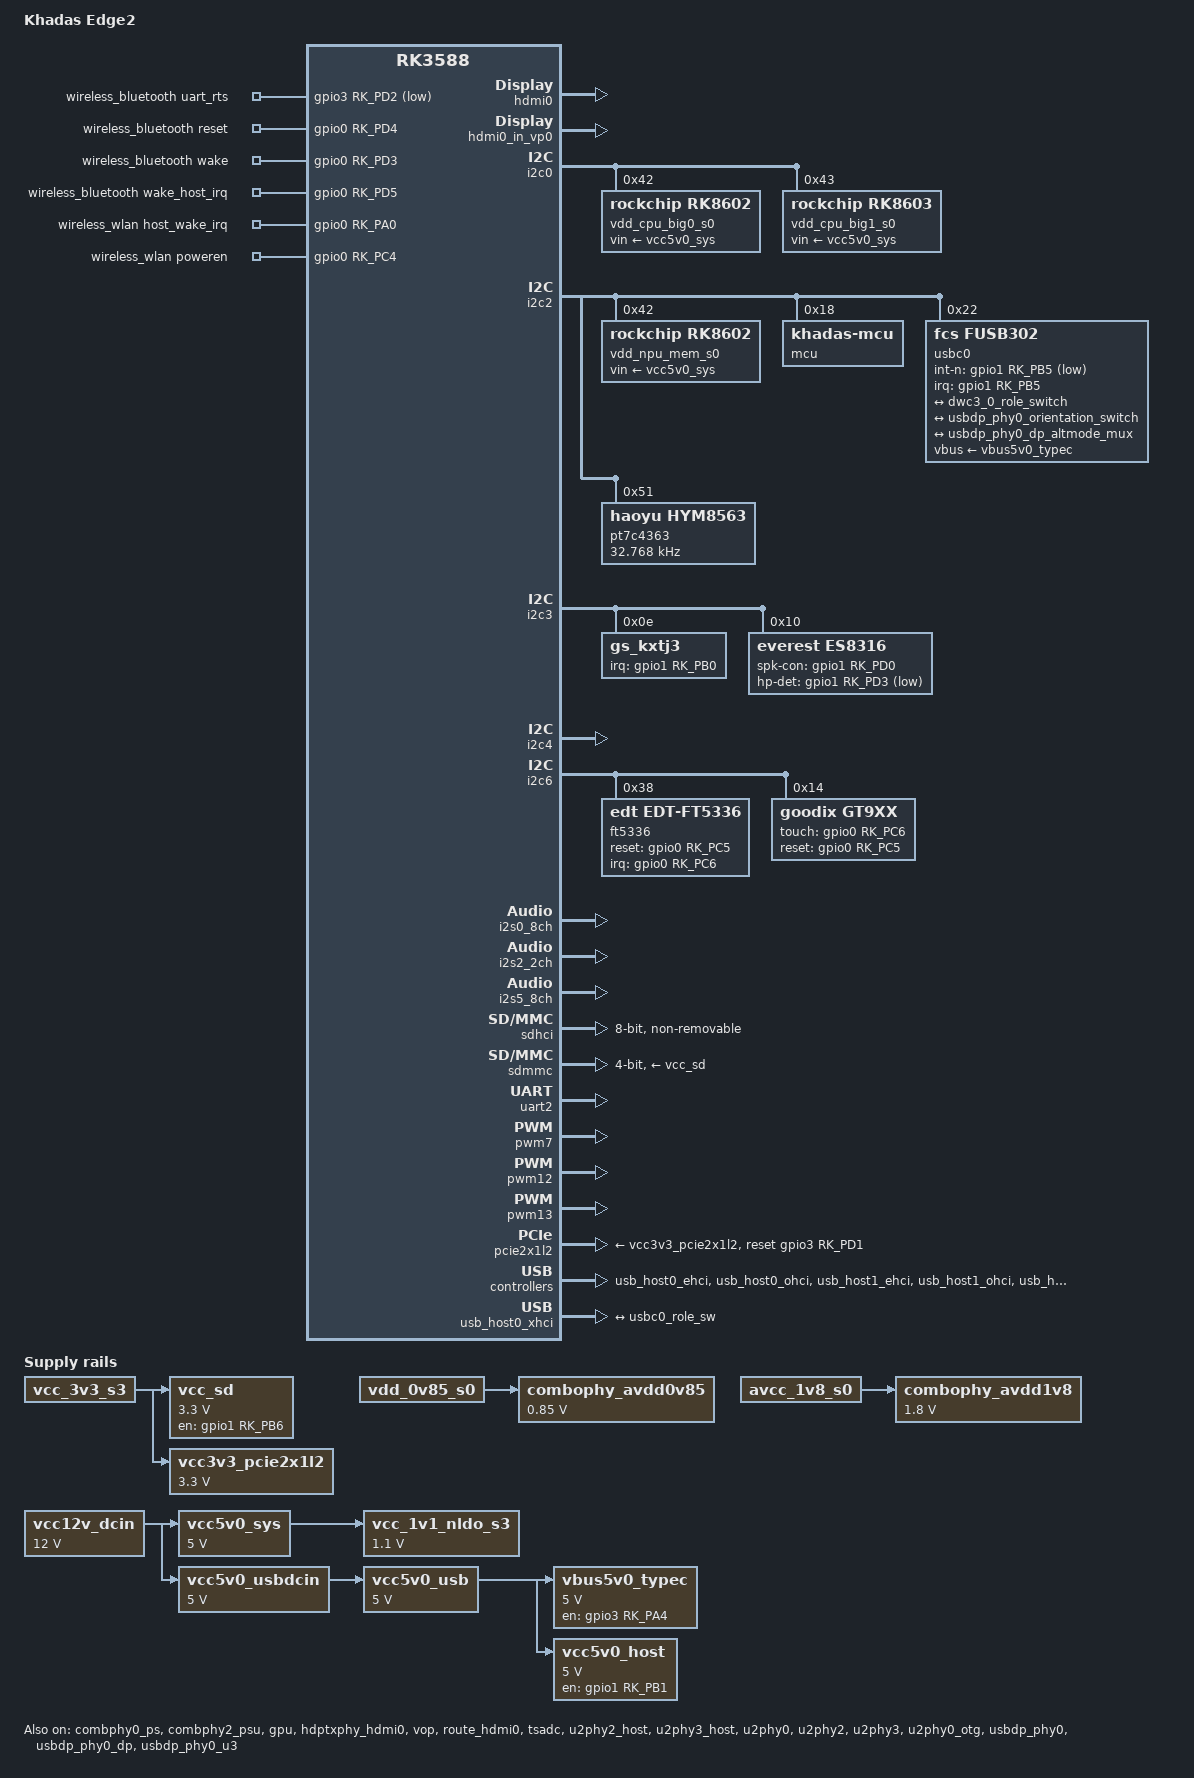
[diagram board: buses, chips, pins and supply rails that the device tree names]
// SPDX-License-Identifier: (GPL-2.0+ OR MIT)

/dts-v1/;

#include <dt-bindings/pwm/pwm.h>
#include <dt-bindings/usb/pd.h>
#include <dt-bindings/gpio/gpio.h>
#include <dt-bindings/pinctrl/rockchip.h>
#include "rk3588s.dtsi"
#include "rk3588-rk806-single.dtsi"

/ {
	model = "Khadas Edge2";
	compatible = "khadas,edge2", "rockchip,rk3588s", "rockchip,rk3588";

	aliases {
		serial2 = &uart2;
	};

	chosen {
		stdout-path = "serial2:1500000n8";
	};

	reserved-memory {
		#address-cells = <2>;
		#size-cells = <2>;
		ranges;

		cma {
			compatible = "shared-dma-pool";
			reusable;
			size = <0x0 (16 * 0x100000)>;
			alloc-ranges = <0x0 0x0 0x1 0x0>;
			linux,cma-default;
		};

		ramoops: ramoops@110000 {
			compatible = "ramoops";
			reg = <0x0 0x110000 0x0 0xf0000>;
			record-size = <0x20000>;
			console-size = <0x80000>;
			ftrace-size = <0x00000>;
			pmsg-size = <0x50000>;
		};
	};

	vcc12v_dcin: vcc12v-dcin-regulator {
		compatible = "regulator-fixed";
		regulator-name = "vcc12v_dcin";
		regulator-always-on;
		regulator-boot-on;
		regulator-min-microvolt = <12000000>;
		regulator-max-microvolt = <12000000>;
	};

	vcc5v0_sys: vcc5v0-sys-regulator {
		compatible = "regulator-fixed";
		regulator-name = "vcc5v0_sys";
		regulator-always-on;
		regulator-boot-on;
		regulator-min-microvolt = <5000000>;
		regulator-max-microvolt = <5000000>;
		vin-supply = <&vcc12v_dcin>;
	};

	vcc5v0_usbdcin: vcc5v0-usbdcin {
		compatible = "regulator-fixed";
		regulator-name = "vcc5v0_usbdcin";
		regulator-always-on;
		regulator-boot-on;
		regulator-min-microvolt = <5000000>;
		regulator-max-microvolt = <5000000>;
		vin-supply = <&vcc12v_dcin>;
	};

	vcc5v0_usb: vcc5v0-usb {
		compatible = "regulator-fixed";
		regulator-name = "vcc5v0_usb";
		regulator-always-on;
		regulator-boot-on;
		regulator-min-microvolt = <5000000>;
		regulator-max-microvolt = <5000000>;
		vin-supply = <&vcc5v0_usbdcin>;
	};

	vcc_1v1_nldo_s3: vcc-1v1-nldo-s3 {
		compatible = "regulator-fixed";
		regulator-name = "vcc_1v1_nldo_s3";
		regulator-always-on;
		regulator-boot-on;
		regulator-min-microvolt = <1100000>;
		regulator-max-microvolt = <1100000>;
		vin-supply = <&vcc5v0_sys>;
	};

	vbus5v0_typec: vbus5v0-typec {
		compatible = "regulator-fixed";
		regulator-name = "vbus5v0_typec";
		regulator-min-microvolt = <5000000>;
		regulator-max-microvolt = <5000000>;
		enable-active-high;
		gpio = <&gpio3 RK_PA4 GPIO_ACTIVE_HIGH>;
		vin-supply = <&vcc5v0_usb>;
		pinctrl-names = "default";
		pinctrl-0 = <&typec5v_pwren>;
	};

	vcc5v0_host: vcc5v0-host {
		compatible = "regulator-fixed";
		regulator-name = "vcc5v0_host";
		regulator-boot-on;
		regulator-always-on;
		regulator-min-microvolt = <5000000>;
		regulator-max-microvolt = <5000000>;
		enable-active-high;
		gpio = <&gpio1 RK_PB1 GPIO_ACTIVE_HIGH>;
		vin-supply = <&vcc5v0_usb>;
		pinctrl-names = "default";
		pinctrl-0 = <&vcc5v0_host_en>;
	};

	vcc_sd: vcc-sd {
		compatible = "regulator-fixed";
		regulator-boot-on;
		regulator-always-on;
		regulator-name = "vcc_sd";
		regulator-min-microvolt = <3300000>;
		regulator-max-microvolt = <3300000>;
		regulator-ramp-delay = <12500>;
		enable-active-high;
		gpio = <&gpio1 RK_PB6 GPIO_ACTIVE_HIGH>;
		vin-supply = <&vcc_3v3_s3>;
		pinctrl-names = "default";
		pinctrl-0 = <&vcc_sd_en>;
		regulator-state-mem {
		    regulator-off-in-suspend;
		};
	};

	wireless_bluetooth: wireless-bluetooth {
		compatible = "bluetooth-platdata";
		clocks = <&pt7c4363>;
		clock-names = "ext_clock";
		uart_rts_gpios = <&gpio3 RK_PD2 GPIO_ACTIVE_LOW>;
		pinctrl-names = "default", "rts_gpio";
		pinctrl-0 = <&uart9m2_rtsn>, <&bt_gpio>;
		pinctrl-1 = <&uart9_gpios>;
		BT,reset_gpio    = <&gpio0 RK_PD4 GPIO_ACTIVE_HIGH>;
		BT,wake_gpio     = <&gpio0 RK_PD3 GPIO_ACTIVE_HIGH>;
		BT,wake_host_irq = <&gpio0 RK_PD5 GPIO_ACTIVE_HIGH>;
		status = "okay";
	};

	wireless_wlan: wireless-wlan {
		compatible = "wlan-platdata";
		wifi_chip_type = "ap6275p";
		pinctrl-names = "default";
		pinctrl-0 = <&wifi_host_wake_irq>, <&wifi_poweren_gpio>;
		WIFI,host_wake_irq = <&gpio0 RK_PA0 GPIO_ACTIVE_HIGH>;
		WIFI,poweren_gpio = <&gpio0 RK_PC4 GPIO_ACTIVE_HIGH>;
		status = "okay";
	};

	vcc3v3_pcie2x1l2: vcc3v3-pcie2x1l2 {
		compatible = "regulator-fixed";
		regulator-name = "vcc3v3_pcie2x1l2";
		regulator-min-microvolt = <3300000>;
		regulator-max-microvolt = <3300000>;
		startup-delay-us = <5000>;
		vin-supply = <&vcc_3v3_s3>;
	};

	combophy_avdd0v85: combophy-avdd0v85 {
		compatible = "regulator-fixed";
		regulator-name = "combophy_avdd0v85";
		regulator-boot-on;
		regulator-always-on;
		regulator-min-microvolt = <850000>;
		regulator-max-microvolt = <850000>;
		vin-supply = <&vdd_0v85_s0>;
	};

	combophy_avdd1v8: combophy-avdd1v8 {
		compatible = "regulator-fixed";
		regulator-name = "combophy_avdd1v8";
		regulator-boot-on;
		regulator-always-on;
		regulator-min-microvolt = <1800000>;
		regulator-max-microvolt = <1800000>;
		vin-supply = <&avcc_1v8_s0>;
	};

	hdmi0_sound: hdmi0-sound {
		status = "okay";
		compatible = "rockchip,hdmi";
		rockchip,mclk-fs = <128>;
		rockchip,card-name = "rockchip-hdmi0";
		rockchip,cpu = <&i2s5_8ch>;
		rockchip,codec = <&hdmi0>;
		rockchip,jack-det;
	};

	es8316_sound: es8316-sound {
		status = "okay";
		compatible = "simple-audio-card";
		simple-audio-card,format = "i2s";
		simple-audio-card,mclk-fs = <256>;
		simple-audio-card,name = "rockchip,es8316-codec";
		simple-audio-card,dai-link@0 {
			format = "i2s";
			cpu {
				sound-dai = <&i2s0_8ch>;
			};
			codec {
				sound-dai = <&es8316>;
			};
		};
	};

	bt-sound {
		compatible = "simple-audio-card";
		simple-audio-card,format = "dsp_a";
		simple-audio-card,bitclock-inversion = <1>;
		simple-audio-card,mclk-fs = <256>;
		simple-audio-card,name = "rockchip,bt";
		simple-audio-card,cpu {
				sound-dai = <&i2s2_2ch>;
		};
		simple-audio-card,codec {
				sound-dai = <&bt_sco>;
		};
	};

	bt_sco: bt-sco {
		compatible = "delta,dfbmcs320";
		#sound-dai-cells = <0>;
		status = "okay";
	};

};

&cpu_b0 {
	cpu-supply = <&vdd_cpu_big0_s0>;
};

&cpu_b1 {
	cpu-supply = <&vdd_cpu_big0_s0>;
};

&cpu_b2 {
	cpu-supply = <&vdd_cpu_big1_s0>;
};

&cpu_b3 {
	cpu-supply = <&vdd_cpu_big1_s0>;
};

&combphy0_ps {
	status = "okay";
};

&combphy2_psu {
	status = "okay";
};

&gpu {
	mali-supply = <&vdd_gpu_s0>;
//	sram-supply = <&vdd_gpu_mem_s0>;
	status = "okay";
};

&hdmi0 {
	status = "okay";
};

&hdmi0_in_vp0 {
	status = "okay";
};

&hdptxphy_hdmi0 {
	status = "okay";
};

&vop_mmu {
       status = "okay";
};

&vop {
       status = "okay";
};

&route_hdmi0 {
	status = "okay";
	connect = <&vp0_out_hdmi0>;
	/delete-property/ force-output;
	/delete-node/ force_timing;
};

&vp0 {
	rockchip,plane-mask = <(1 << ROCKCHIP_VOP2_CLUSTER0 | 1 << ROCKCHIP_VOP2_ESMART0)>;
	rockchip,primary-plane = <ROCKCHIP_VOP2_ESMART0>;
};

&vp1 {
	rockchip,plane-mask = <(1 << ROCKCHIP_VOP2_CLUSTER1 | 1 << ROCKCHIP_VOP2_ESMART1)>;
	rockchip,primary-plane = <ROCKCHIP_VOP2_ESMART1>;
};

&vp2 {
	rockchip,plane-mask = <(1 << ROCKCHIP_VOP2_CLUSTER2 | 1 << ROCKCHIP_VOP2_ESMART2)>;
	rockchip,primary-plane = <ROCKCHIP_VOP2_ESMART2>;
};

&vp3 {
	rockchip,plane-mask = <(1 << ROCKCHIP_VOP2_CLUSTER3 | 1 << ROCKCHIP_VOP2_ESMART3)>;
	rockchip,primary-plane = <ROCKCHIP_VOP2_ESMART3>;
};




&i2c0 {
	pinctrl-names = "default";
	pinctrl-0 = <&i2c0m2_xfer>;
	status = "okay";

	vdd_cpu_big0_s0: regulator@42 {
		compatible = "rockchip,rk8602";
		reg = <0x42>;
		fcs,suspend-voltage-selector = <1>;
		regulator-name = "vdd_cpu_big0_s0";
		regulator-always-on;
		regulator-boot-on;
		regulator-min-microvolt = <550000>;
		regulator-max-microvolt = <1050000>;
		regulator-ramp-delay = <2300>;
		vin-supply = <&vcc5v0_sys>;

		regulator-state-mem {
			regulator-off-in-suspend;
		};
	};

	vdd_cpu_big1_s0: regulator@43 {
		compatible = "rockchip,rk8603", "rockchip,rk8602";
		reg = <0x43>;
		fcs,suspend-voltage-selector = <1>;
		regulator-name = "vdd_cpu_big1_s0";
		regulator-always-on;
		regulator-boot-on;
		regulator-min-microvolt = <550000>;
		regulator-max-microvolt = <1050000>;
		regulator-ramp-delay = <2300>;
		vin-supply = <&vcc5v0_sys>;

		regulator-state-mem {
			regulator-off-in-suspend;
		};
	};
};

&i2c2 {
	pinctrl-names = "default";
	pinctrl-0 = <&i2c2m0_xfer>;
	status = "okay";

	vdd_npu_mem_s0: rk8602@42 {
		compatible = "rockchip,rk8602";
		reg = <0x42>;
		vin-supply = <&vcc5v0_sys>;
		regulator-compatible = "rk860x-reg";
		regulator-name = "vdd_npu_s0";
		regulator-min-microvolt = <550000>;
		regulator-max-microvolt = <950000>;
		regulator-ramp-delay = <2300>;
		rockchip,suspend-voltage-selector = <1>;
		regulator-boot-on;
		regulator-always-on;
		regulator-state-mem {
			regulator-off-in-suspend;
		};
	};

	mcu: mcu@18 {
		compatible = "khadas-mcu";
		status = "okay";
		reg = <0x18>;
		fan,trig_temp_level0 = <50>;
		fan,trig_temp_level1 = <60>;
		fan,trig_temp_level2 = <70>;
		fan,trig_temp_level3 = <80>;
		hwver = "EDGE2.V11";

	};

	usbc0: fusb302@22 {
		compatible = "fcs,fusb302";
		reg = <0x22>;
		interrupt-parent = <&gpio1>;
		interrupts = <RK_PB5 IRQ_TYPE_LEVEL_LOW>;
		int-n-gpios = <&gpio1 RK_PB5 GPIO_ACTIVE_LOW>;
		pinctrl-names = "default";
		pinctrl-0 = <&usbc0_int>;
		vbus-supply = <&vbus5v0_typec>;
		status = "okay";

		ports {
			#address-cells = <1>;
			#size-cells = <0>;

			port@0 {
				reg = <0>;
				usbc0_role_sw: endpoint@0 {
					remote-endpoint = <&dwc3_0_role_switch>;
				};
			};
		};

		usb_con: connector {
			compatible = "usb-c-connector";
			label = "USB-C";
			data-role = "dual";
			power-role = "dual";
			try-power-role = "sink";
			op-sink-microwatt = <1000000>;
//			sink-pdos =
//				<PDO_FIXED(5000, 3000, PDO_FIXED_USB_COMM)
//				PDO_FIXED(9000, 3000, PDO_FIXED_USB_COMM)
//				PDO_FIXED(12000, 3000, PDO_FIXED_USB_COMM)
//				PDO_FIXED(15000, 3000, PDO_FIXED_USB_COMM)>;
//			source-pdos =
//				<PDO_FIXED(5000, 2000, PDO_FIXED_USB_COMM)>;

			altmodes {
				#address-cells = <1>;
				#size-cells = <0>;

				altmode@0 {
					reg = <0>;
					svid = <0xff01>;
					vdo = <0xffffffff>;
				};
			};

			ports {
				#address-cells = <1>;
				#size-cells = <0>;

				port@0 {
					reg = <0>;
					usbc0_orien_sw: endpoint {
						remote-endpoint = <&usbdp_phy0_orientation_switch>;
					};
				};

				port@1 {
					reg = <1>;
					dp_altmode_mux: endpoint {
						remote-endpoint = <&usbdp_phy0_dp_altmode_mux>;
					};
				};
			};
		};
	};

	pt7c4363: pt7c4363@51 {
		compatible = "haoyu,hym8563";
		reg = <0x51>;
		#clock-cells = <0>;
		clock-frequency = <32768>;
		clock-output-names = "pt7c4363";
		wakeup-source;
	};
};

&i2c3 {
	status = "okay";

	gs_kxtj3: gs_kxtj3@e {
		compatible = "gs_kxtj3";
		reg = <0x0e>;
		irq-gpio = <&gpio1 RK_PB0 IRQ_TYPE_EDGE_RISING>;
		irq_enable = <0>;
		poll_delay_ms = <30>;
//		type = <SENSOR_TYPE_ACCEL>;
		layout = <0>;
		status = "okay";
	};

	es8316: es8316@10 {
		status = "okay";
		#sound-dai-cells = <0>;
		compatible = "everest,es8316";
		reg = <0x10>;
		clocks = <&cru I2S0_8CH_MCLKOUT>;
		clock-names = "mclk";
		assigned-clocks = <&cru I2S0_8CH_MCLKOUT>;
		assigned-clock-rates = <12288000>;
		pinctrl-names = "default","hp_det","spk_con";
		pinctrl-0 = <&i2s0_mclk>,<&hp_det>,<&spk_con>;
		spk-con-gpio = <&gpio1 RK_PD0 GPIO_ACTIVE_HIGH>;
		hp-det-gpio = <&gpio1 RK_PD3 GPIO_ACTIVE_LOW>;
	};
};

&i2c4 {
	pinctrl-names = "default";
	pinctrl-0 = <&i2c4m3_xfer>;
	status = "okay";
};

&i2c5 {
	status = "disabled";
};

&i2c6 {
	status = "okay";
	pinctrl-names = "default";
	pinctrl-0 = <&i2c6m0_xfer>;

	ft5336@38 {
		compatible = "edt,edt-ft5336", "ft5x06";
		reg = <0x38>;
		interrupt-parent = <&gpio0>;
		interrupts = <RK_PC6 IRQ_TYPE_EDGE_FALLING>;
		reset-gpio = <&gpio0 RK_PC5 GPIO_ACTIVE_HIGH>;
		pinctrl-names = "default";
		pinctrl-0 = <&tp_rst_gpio>;
		status = "okay";
	};

	gt9xx: gt9xx@14 {
		compatible = "goodix,gt9xx";
		reg = <0x14>;
		touch-gpio = <&gpio0 RK_PC6 IRQ_TYPE_LEVEL_LOW>;
		reset-gpio = <&gpio0 RK_PC5 GPIO_ACTIVE_HIGH>;
		max-x = <1920>;
		max-y = <1200>;
		tp-size = <89>;
	};
};

&i2s0_8ch {
	status = "okay";
	pinctrl-0 = <&i2s0_lrck
		     &i2s0_sclk
		     &i2s0_sdi0
		     &i2s0_sdo0>;
};

&i2s2_2ch {
	status = "okay";
};

&i2s5_8ch {
	status = "okay";
};


&sdhci {
	bus-width = <8>;
	no-sdio;
	no-sd;
	non-removable;
	max-frequency = <200000000>;
	mmc-hs400-1_8v;
	mmc-hs400-enhanced-strobe;
	status = "okay";
};

&sdmmc {
	max-frequency = <150000000>;
	no-sdio;
	no-mmc;
	bus-width = <4>;
	cap-mmc-highspeed;
	cap-sd-highspeed;
	disable-wp;
	sd-uhs-sdr104;
//	vmmc-supply = <&vcc_3v3_s3>;
	vmmc-supply = <&vcc_sd>;
	vqmmc-supply = <&vccio_sd_s0>;
	pinctrl-names = "default";
	pinctrl-0 = <&sdmmc_bus4 &sdmmc_clk &sdmmc_cmd &sdmmc_det>;
	status = "okay";
};

&uart2 {
	pinctrl-0 = <&uart2m0_xfer>;
	status = "okay";
};


&pinctrl {
	audio {
		hp_det: hp-det {
			rockchip,pins = <1 RK_PD3 RK_FUNC_GPIO &pcfg_pull_none>;
		};
		spk_con: spk-con {
			rockchip,pins = <1 RK_PD0 RK_FUNC_GPIO &pcfg_pull_none>;
		};
	};

	usb {
		vcc5v0_host_en: vcc5v0-host-en {
			rockchip,pins = <1 RK_PB1 RK_FUNC_GPIO &pcfg_pull_none>;
		};
	};

	usb-typec {
		usbc0_int: usbc0-int {
			rockchip,pins = <1 RK_PB5 RK_FUNC_GPIO &pcfg_pull_up>;
		};

		typec5v_pwren: typec5v-pwren {
			rockchip,pins = <3 RK_PA4 RK_FUNC_GPIO &pcfg_pull_none>;
		};
	};

	pcie {
		pcie2x1l2_gpio: pcie2x1l2-gpio {
			rockchip,pins = <3 RK_PD1 RK_FUNC_GPIO &pcfg_pull_none>;
		};
	};

	tp {
		tp_rst_gpio: tp-rst-gpio {
			rockchip,pins = <0 RK_PC5 RK_FUNC_GPIO &pcfg_pull_none>;
		};
	};

	vcc_sd {
		vcc_sd_en: vcc-sd-en {
			rockchip,pins =
				<1 RK_PB6 RK_FUNC_GPIO &pcfg_pull_up>;
		};
	};

	wireless-bluetooth {
		uart9_gpios: uart9-gpios {
			rockchip,pins = <3 RK_PD2 RK_FUNC_GPIO &pcfg_pull_none>;
		};

		bt_gpio: bt-gpio {
			rockchip,pins =
				<0 RK_PD4 RK_FUNC_GPIO &pcfg_pull_none>,
				<0 RK_PD3 RK_FUNC_GPIO &pcfg_pull_up>,
				<0 RK_PD5 RK_FUNC_GPIO &pcfg_pull_down>;
		};
	};

	wireless-wlan {
		wifi_host_wake_irq: wifi-host-wake-irq {
			rockchip,pins = <0 RK_PA0 RK_FUNC_GPIO &pcfg_pull_down>;
		};

		wifi_poweren_gpio: wifi-poweren-gpio {
			rockchip,pins = <0 RK_PC4 RK_FUNC_GPIO &pcfg_pull_up>;
		};
	};
};

&pwm7 {
	pinctrl-0 = <&pwm7m0_pins>;
	status = "okay";
};

&pwm12 {
	pinctrl-0 = <&pwm12m1_pins>;
	status = "okay";
};

&pwm13 {
	pinctrl-0 = <&pwm13m1_pins>;
	status = "okay";
};

&pcie2x1l2 {
	reset-gpios = <&gpio3 RK_PD1 GPIO_ACTIVE_HIGH>;
	vpcie3v3-supply = <&vcc3v3_pcie2x1l2>;
	status = "okay";

};

&tsadc {
	status = "okay";
};

&u2phy2_host {
	/* connected to USB hub, which is powered by vcc5v0_sys */
	phy-supply = <&vcc5v0_sys>;
	status = "okay";
};

&u2phy3_host {
	phy-supply = <&vcc5v0_host>;
	status = "okay";
};

&u2phy0 {
	status = "okay";
};

&u2phy2 {
	status = "okay";
};

&u2phy3 {
	status = "okay";
};

&u2phy0_otg {
	status = "okay";
};

&u2phy2_host {
	status = "okay";
};

&u2phy3_host {
	status = "okay";
};

&usb_host0_ehci {
	status = "okay";
};

&usb_host0_ohci {
	status = "okay";
};

&usb_host1_ehci {
	status = "okay";
};

&usb_host1_ohci {
	status = "okay";
};

&usbdp_phy0 {
	status = "okay";
	orientation-switch;
	svid = <0xff01>;
	sbu1-dc-gpios = <&gpio4 RK_PA0 GPIO_ACTIVE_HIGH>;
	sbu2-dc-gpios = <&gpio4 RK_PA1 GPIO_ACTIVE_HIGH>;

	port {
		#address-cells = <1>;
		#size-cells = <0>;
		usbdp_phy0_orientation_switch: endpoint@0 {
			reg = <0>;
			remote-endpoint = <&usbc0_orien_sw>;
		};

		usbdp_phy0_dp_altmode_mux: endpoint@1 {
			reg = <1>;
			remote-endpoint = <&dp_altmode_mux>;
		};
	};
};

&usbdp_phy0_dp {
	status = "okay";
};

&usbdp_phy0_u3 {
	status = "okay";
};

&usb_host0_xhci {
	status = "okay";
};

//&usbdrd_dwc3_0 {
////	dr_mode = "otg";
////	status = "okay";
//	usb-role-switch;
//	port {
//		#address-cells = <1>;
//		#size-cells = <0>;
//		dwc3_0_role_switch: endpoint@0 {
//			reg = <0>;
//			remote-endpoint = <&usbc0_role_sw>;
//		};
//	};
//};

&usb_host0_xhci {
	usb-role-switch;
	status = "okay";

	port {
		#address-cells = <1>;
		#size-cells = <0>;

		dwc3_0_role_switch: endpoint {
			remote-endpoint = <&usbc0_role_sw>;
		};
	};
};

&usb_host2_xhci {
	status = "okay";
};

//&usbhost_dwc3_0 {
//	dr_mode = "host";
//	status = "okay";
//};

&u2phy0_otg {
	rockchip,typec-vbus-det;
};

&u2phy2_host {
	phy-supply = <&vcc5v0_host>;
};

&u2phy3_host {
	phy-supply = <&vcc5v0_host>;
};
